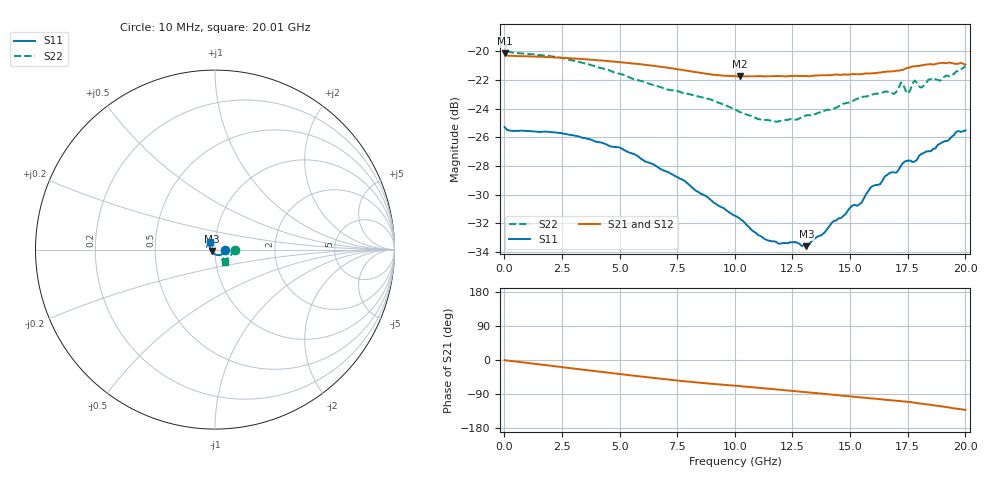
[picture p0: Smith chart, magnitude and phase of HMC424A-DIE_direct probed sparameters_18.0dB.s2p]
!s2p File: Measurements: S11, S21, S12, S22
# GHz S dB R 50.0
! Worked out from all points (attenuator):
!   201 points, 10 MHz to 20.01 GHz, reference 50 ohm
!   highest |S21| = -20.15 dB at 10 MHz (marker M1); lowest = -21.8 dB at 10.21 GHz (marker M2)
!   lowest |S11| = -33.6 dB at 13.11 GHz (marker M3), VSWR 1.04, Z = 48.1 - j0.723 ohm
!   |S11| at or under -10 dB: start of sweep to end of sweep
!   |S22| runs from -24.9 to -19.2 dB; largest |S21 - S12| = 0.00098
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0.01  -25.29 -0.2  -20.15 -0.3  -20.15 -0.4  -19.24 -1.9
0.21  -25.53 -1.9  -20.31 -1.9  -20.30 -1.9  -20.03 -3.2
3.41  -26.04 -23.8  -20.54 -25.6  -20.54 -25.6  -20.81 -26.6
5.01  -26.72 -36.9  -20.75 -37.1  -20.75 -37.1  -21.57 -36.6
6.71  -28.15 -51.4  -21.06 -48.9  -21.06 -48.9  -22.46 -44.1
10.01  -31.48 -91.3  -21.73 -67.9  -21.73 -67.8  -24.05 -54.6
10.21  -31.67 -94.3  -21.75 -68.8  -21.74 -68.8  -24.23 -54.7
11.41  -33.18 -119.3  -21.74 -75.4  -21.73 -75.4  -24.78 -52.3
13.11  -33.60 -158.9  -21.72 -85.2  -21.70 -85.1  -24.46 -48.2
13.41  -33.17 -166.0  -21.70 -86.6  -21.71 -86.6  -24.39 -47.8
15.11  -30.76 162.5  -21.59 -96.6  -21.60 -96.6  -23.48 -48.4
15.51  -30.55 156.4  -21.59 -98.9  -21.56 -98.8  -23.19 -49.0
15.91  -29.48 150.3  -21.54 -101.2  -21.54 -101.2  -23.05 -50.0
16.71  -28.51 140.3  -21.40 -105.8  -21.37 -105.9  -22.88 -52.6
16.91  -28.45 137.9  -21.39 -106.9  -21.32 -107.0  -22.98 -51.8
17.21  -28.00 138.3  -21.31 -108.7  -21.26 -109.0  -22.17 -52.0
17.51  -27.63 133.9  -21.15 -110.6  -21.18 -111.0  -22.96 -52.9
17.81  -27.69 131.5  -21.05 -112.8  -21.07 -113.0  -22.04 -52.6
18.11  -27.15 128.3  -20.98 -115.2  -21.02 -115.0  -22.53 -52.8
18.41  -26.97 125.8  -20.91 -117.6  -20.93 -117.6  -21.97 -52.1
18.91  -26.44 125.1  -20.82 -121.9  -20.82 -121.7  -22.05 -53.2
20.01  -25.51 123.9  -20.93 -131.8  -20.90 -131.7  -21.02 -53.2
